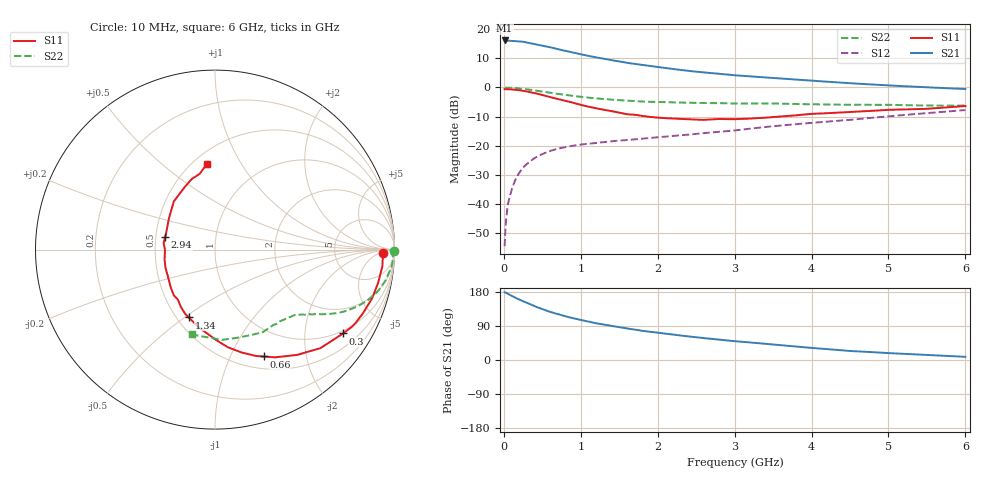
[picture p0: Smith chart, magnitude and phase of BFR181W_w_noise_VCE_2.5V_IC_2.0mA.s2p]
! Infineon Technologies  Discrete & RF Semiconductors
! BFR181W
! VCE =  2.5 V,  IC =  2.0 mA
! Common Emitter S-Parameters:  Nov 2015
# GHz  S  MA  R  50
!  f  S11  S21  S12  S22
! GHz  MAG  ANG  MAG  ANG  MAG  ANG  MAG  ANG
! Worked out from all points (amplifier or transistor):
!   210 points, 10 MHz to 6 GHz, reference 50 ohm
!   highest |S21| = 16.1 dB at 10 MHz (marker M1)
!   |S21| within 3 dB of that: start of sweep to 705 MHz
!   unconditionally stable (mu >= 1): 1.871 GHz to 3.864 GHz
!   at 185 MHz: K = 0.14, MSG = 22.9 dB, |S12| = -29.9 dB
!   at 1.52 GHz: K = 0.89, MSG = 13.5 dB, |S12| = -18.2 dB
!   at 6 GHz: K = 0.85, MSG = 3.6 dB, |S12| = -7.8 dB
!   lowest NFmin = 1.35 dB at 450 MHz
!   S11 on the Smith chart (normalised r, x): 10 MHz: 28, -8; 300 MHz: 0.91, -3.11; 660 MHz: 0.65, -1.35; 1.34 GHz: 0.57, -0.52; 2.94 GHz: 0.56, +0.08; 6 GHz: 0.58, +0.73
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0.01  0.9366 -1.1  6.403 178.8  0.0019 98.7  0.9976 -0.5
0.02  0.9361 -2.6  6.375 178.3  0.0036 97.4  0.9865 -1.0
0.04  0.9364 -4.7  6.356 176.0  0.0074 86.0  0.9908 -2.1
0.08  0.9302 -9.2  6.324 171.8  0.014 84.2  0.9903 -4.3
0.2  0.8983 -23.0  6.177 159.6  0.0343 76.7  0.9649 -10.4
0.3  0.8532 -33.2  5.913 150.9  0.0488 70.1  0.9313 -14.9
0.4  0.8038 -43.1  5.551 141.8  0.0616 65.5  0.8916 -18.8
0.5  0.7438 -52.1  5.213 134.2  0.0722 62.0  0.8522 -21.9
0.6  0.6871 -60.9  4.904 127.0  0.0815 58.0  0.8121 -24.7
0.66  0.6545 -65.5  4.685 123.6  0.086 56.3  0.791 -26.0
0.8  0.5922 -75.5  4.25 115.2  0.0951 53.5  0.7454 -28.6
1.02  0.4961 -90.5  3.648 104.7  0.1056 50.3  0.6871 -31.6
1.2  0.44 -102.5  3.274 96.9  0.1123 48.7  0.6503 -33.7
1.34  0.4054 -111.1  3.044 92.0  0.1176 48.5  0.6275 -35.1
1.64  0.3452 -128.7  2.604 82.0  0.1269 48.7  0.5914 -37.9
2.02  0.3028 -149.6  2.231 71.4  0.1409 50.1  0.564 -41.6
2.4  0.286 -169.0  1.927 62.2  0.1554 51.9  0.5476 -45.5
2.94  0.2862 166.0  1.65 51.0  0.1806 54.3  0.5337 -51.5
3.1  0.2889 159.4  1.585 48.1  0.19 54.8  0.5305 -53.7
4.1  0.3571 127.9  1.284 30.4  0.2536 54.2  0.5124 -69.7
5.1  0.4167 107.0  1.068 17.3  0.3287 51.9  0.5007 -87.3
6  0.4807 95.2  0.941 8.4  0.4096 46.7  0.4899 -105.3
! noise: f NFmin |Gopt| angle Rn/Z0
0.45  1.35  0.6  17  0.4
0.9  1.45  0.5  36  0.4
1.8  1.8  0.31  80  0.37
